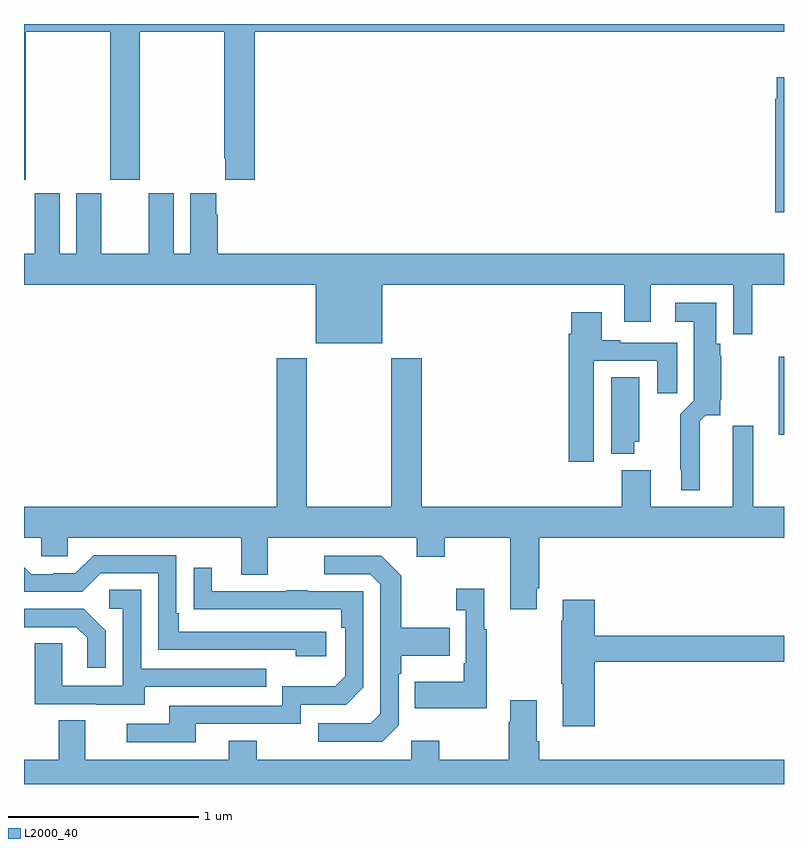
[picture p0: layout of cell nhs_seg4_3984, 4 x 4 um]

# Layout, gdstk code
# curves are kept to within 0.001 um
import gdstk
lib = gdstk.Library(unit=1e-6, precision=1e-09)
def R(c, l, rs):  # rectangles x0, y0, x1, y1
    for r in rs: c.add(gdstk.rectangle(r[:2], r[2:], *l))
def P(c, l, *ps):  # polygons
    for p in ps: c.add(gdstk.Polygon(p, *l))
L2000_40 = (2000, 40)

nhs_seg4_3984 = lib.new_cell('nhs_seg4_3984')
R(nhs_seg4_3984, L2000_40, [(326.972,754.739,327,755.149)])
P(nhs_seg4_3984, L2000_40, [(323.01,756.86),(323.455,756.86),(323.455,756.081),(323.61,756.081),(323.61,756.86),(324.055,756.86),(324.055,756.193),(324.059,756.193),(324.059,756.081),(324.215,756.081),(324.215,756.86),(327,756.86),(327,756.9),(323,756.9),(323,756.081),(323.01,756.081)],
  [(327,756.619),(326.961,756.619),(326.961,756.506),(326.953,756.506),(326.953,755.909),(327,755.909)],
  [(323.276,756.01),(323.276,755.692),(323.188,755.692),(323.188,756.01),(323.057,756.01),(323.057,755.692),(323,755.692),(323,755.528),(324.536,755.528),(324.536,755.219),(324.886,755.219),(324.886,755.528),(326.159,755.528),(326.159,755.334),(326.299,755.334),(326.299,755.528),(326.733,755.528),(326.733,755.268),(326.832,755.268),(326.832,755.528),(327,755.528),(327,755.692),(324.02,755.692),(324.02,755.897),(324.013,755.897),(324.013,756.01),(323.876,756.01),(323.876,755.692),(323.788,755.692),(323.788,756.01),(323.657,756.01),(323.657,755.692),(323.407,755.692),(323.407,756.01)],
  [(326.557,754.808),(326.589,754.841),(326.664,754.841),(326.664,754.917),(326.67,754.923),(326.67,755.154),(326.664,755.154),(326.664,755.217),(326.644,755.217),(326.644,755.434),(326.427,755.434),(326.427,755.333),(326.525,755.333),(326.525,754.916),(326.455,754.846),(326.455,754.555),(326.459,754.555),(326.459,754.445),(326.557,754.445)],
  [(325.999,755.127),(326.333,755.127),(326.333,754.956),(326.437,754.956),(326.437,755.223),(326.137,755.223),(326.137,755.236),(326.041,755.236),(326.041,755.383),(325.88,755.383),(325.88,755.27),(325.868,755.27),(325.868,754.596),(325.999,754.596)],
  [(325.699,753.931),(325.712,753.931),(325.712,754.196),(327,754.196),(327,754.36),(326.839,754.36),(326.839,754.786),(326.729,754.786),(326.729,754.36),(326.299,754.36),(326.299,754.552),(326.147,754.552),(326.147,754.36),(325.094,754.36),(325.094,755.14),(324.934,755.14),(324.934,754.36),(324.489,754.36),(324.489,755.14),(324.329,755.14),(324.329,754.36),(323,754.36),(323,754.196),(323.091,754.196),(323.091,754.098),(323.229,754.098),(323.229,754.196),(324.143,754.196),(324.143,754.002),(324.283,754.002),(324.283,754.196),(325.067,754.196),(325.067,754.097),(325.215,754.097),(325.215,754.196),(325.559,754.196),(325.559,753.819),(325.699,753.819)],
  [(326.212,754.701),(326.239,754.701),(326.239,755.042),(326.09,755.042),(326.09,754.637),(326.212,754.637)],
  [(324.592,753.702),(323.815,753.702),(323.815,753.799),(323.802,753.799),(323.802,754.104),(323.367,754.104),(323.271,754.008),(323.153,754.008),(323.153,754.005),(323.037,754.005),(323,754.042),(323,753.912),(323.307,753.912),(323.403,754.008),(323.706,754.008),(323.706,753.606),(324.431,753.606),(324.431,753.572),(324.592,753.572)],
  [(324.972,753.21),(324.972,753.479),(324.985,753.479),(324.985,753.575),(325.241,753.575),(325.241,753.723),(324.985,753.723),(324.985,753.995),(324.879,754.101),(324.579,754.101),(324.579,754.005),(324.822,754.005),(324.876,753.951),(324.876,753.27),(324.825,753.219),(324.549,753.219),(324.549,753.123),(324.885,753.123)],
  [(323.905,753.216),(324.456,753.216),(324.456,753.318),(324.696,753.318),(324.786,753.408),(324.786,753.915),(324.491,753.915),(324.491,753.92),(324.379,753.92),(324.379,753.915),(323.989,753.915),(323.989,754.039),(323.893,754.039),(323.893,753.82),(324.67,753.819),(324.67,753.722),(324.69,753.722),(324.69,753.468),(324.637,753.415),(324.36,753.415),(324.36,753.312),(323.765,753.312),(323.765,753.216),(323.541,753.216),(323.541,753.12),(323.905,753.12)],
  [(325.435,753.715),(325.423,753.715),(325.423,753.928),(325.275,753.928),(325.275,753.815),(325.326,753.815),(325.326,753.535),(325.314,753.535),(325.314,753.439),(325.057,753.439),(325.057,753.299),(325.435,753.299)],
  [(323.635,753.411),(324.275,753.411),(324.275,753.507),(323.616,753.507),(323.616,753.923),(323.448,753.923),(323.448,753.822),(323.52,753.822),(323.52,753.417),(323.202,753.417),(323.202,753.641),(323.057,753.641),(323.057,753.321),(323.381,753.321),(323.381,753.317),(323.635,753.317)],
  [(326.003,753.544),(327,753.544),(327,753.68),(326.003,753.68),(326.003,753.871),(325.835,753.871),(325.835,753.758),(325.828,753.758),(325.828,753.427),(325.835,753.427),(325.835,753.204),(326.003,753.204)],
  [(323.43,753.706),(323.314,753.822),(323,753.822),(323,753.726),(323.276,753.726),(323.333,753.669),(323.333,753.513),(323.43,753.513)],
  [(327,753.028),(325.712,753.028),(325.712,753.124),(325.699,753.124),(325.699,753.34),(325.559,753.34),(325.559,753.227),(325.552,753.227),(325.552,753.028),(325.185,753.028),(325.185,753.127),(325.038,753.127),(325.038,753.028),(324.225,753.028),(324.225,753.127),(324.077,753.127),(324.077,753.028),(323.323,753.028),(323.323,753.236),(323.183,753.236),(323.183,753.028),(323,753.028),(323,752.9),(327,752.9)])

lib.write_gds('nhs_seg4_3984.gds')
